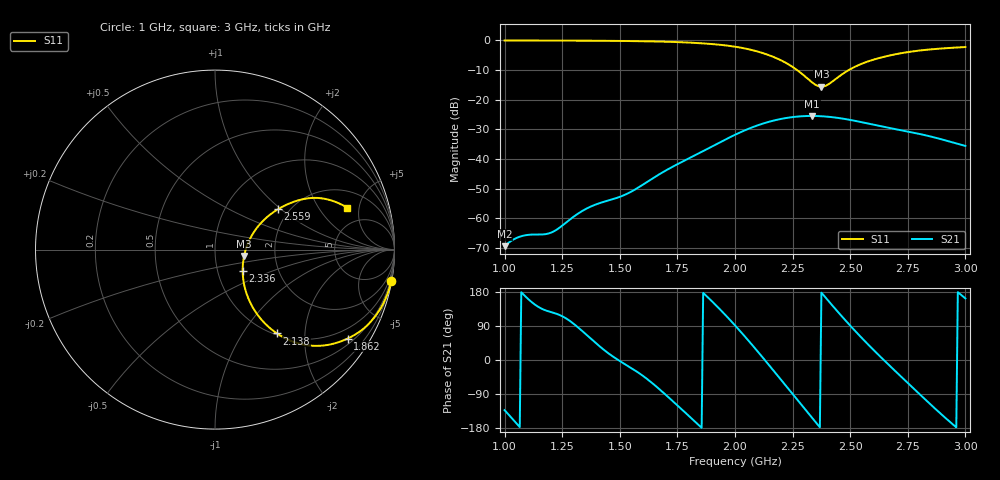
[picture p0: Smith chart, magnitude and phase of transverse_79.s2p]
! TOUCHSTONE file generated by CST MICROWAVE STUDIO
! Date and time: Tue Mar 11 13:56:32 2025
! Project name: transverse.cst
! Parameters = {Fracture=1; B=10; D=160; F=5; Feed=2.85625; L=100; M=20; R=0.384908; S=2; Theta=90; length=57.125; wave=114.25}
! Header version: 2024
! Port assignment regex: !\s*Touchstone port\s*([0-9]+)\s*=\s*(CST MWS port|CST DES external port|CST DES block port)\s*(.+)\s* \(\"(.*)\"\)(\s*mode\s*([0-9]+))?.*
! Touchstone port assignment:
! Touchstone port 1 = CST MWS port 1 ("")
! Touchstone port 2 = CST MWS port 2 ("")
# GHz S MA R 50
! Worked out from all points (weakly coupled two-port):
!   305 points, 1 GHz to 3 GHz, reference 50 ohm
!   highest |S21| = -25.48 dB at 2.336 GHz (marker M1); lowest = -69.4 dB at 1 GHz (marker M2)
!   lowest |S11| = -15.6 dB at 2.375 GHz (marker M3), VSWR 1.40, Z = 69.1 - j4.95 ohm
!   |S11| at or under -10 dB: 2.269 GHz to 2.494 GHz (224.3 MHz wide, 9.42 % of centre)
!   S12 and S22 are empty: the file has one direction only
!   S11 on the Smith chart (normalised r, x): 1 GHz: 0, -11; 1.862 GHz: 0.66, -3.16; 2.138 GHz: 1.02, -1.44; 2.336 GHz: 1.32, -0.33; 2.559 GHz: 1.75, +0.95; 3 GHz: 3.25, +3.77
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1  0.9979 -10.0  0.0003394 -132.3  0 0.0  0 0.0
1.03289  0.9973 -10.5  0.0004269 -154.9  0 0.0  0 0.0
1.07237  0.9965 -11.0  0.0004995 178.8  0 0.0  0 0.0
1.17763  0.9949 -12.6  0.0005413 131.0  0 0.0  0 0.0
1.20395  0.9945 -13.1  0.0005784 126.0  0 0.0  0 0.0
1.33553  0.9897 -15.5  0.001321 77.2  0 0.0  0 0.0
1.39474  0.987 -16.7  0.001706 45.2  0 0.0  0 0.0
1.53289  0.9765 -20.3  0.002609 -14.9  0 0.0  0 0.0
1.67105  0.9566 -24.8  0.005518 -76.6  0 0.0  0 0.0
1.86184  0.8901 -33.8  0.01361 177.3  0 0.0  0 0.0
2  0.7834 -43.2  0.02562 91.4  0 0.0  0 0.0
2.07237  0.6896 -48.9  0.03394 41.3  0 0.0  0 0.0
2.13816  0.5803 -53.6  0.04147 -6.5  0 0.0  0 0.0
2.23684  0.3847 -56.8  0.05018 -80.0  0 0.0  0 0.0
2.33553  0.1947 -37.7  0.05324 -153.4  0 0.0  0 0.0
2.375  0.1658 -12.1  0.05266 177.8  0 0.0  0 0.0
2.40132  0.1779 5.8  0.05175 158.9  0 0.0  0 0.0
2.46711  0.2719 28.3  0.04803 112.9  0 0.0  0 0.0
2.55921  0.4171 32.7  0.04107 52.5  0 0.0  0 0.0
2.67105  0.5567 30.1  0.03337 -14.9  0 0.0  0 0.0
2.82895  0.6937 23.6  0.02503 -106.0  0 0.0  0 0.0
3  0.7729 17.6  0.01663 162.5  0 0.0  0 0.0
